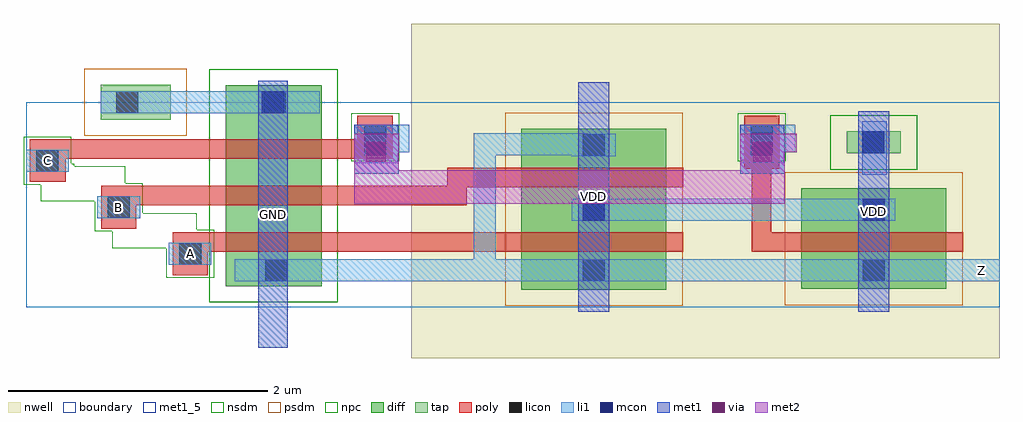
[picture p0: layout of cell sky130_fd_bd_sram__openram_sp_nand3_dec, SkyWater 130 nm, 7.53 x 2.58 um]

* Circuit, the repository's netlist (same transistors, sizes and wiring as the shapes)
* NGSPICE file created from sky130_fd_bd_sram__openram_sp_nand3_dec.ext - technology: sky130A

.subckt sky130_fd_bd_sram__openram_sp_nand3_dec
X0 GND C a_128_208# GND sky130_fd_pr__nfet_01v8 w=0.74 l=0.15
X1 VDD C Z VDD sky130_fd_pr__pfet_01v8 w=1.12 l=0.15
X2 Z B VDD VDD sky130_fd_pr__pfet_01v8 w=1.12 l=0.15
X3 a_128_136# A Z GND sky130_fd_pr__nfet_01v8 w=0.74 l=0.15
X4 VDD A Z VDD sky130_fd_pr__pfet_01v8 w=1.12 l=0.15
X5 a_128_208# B a_128_136# GND sky130_fd_pr__nfet_01v8 w=0.74 l=0.15
.ends

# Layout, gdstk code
import gdstk
lib = gdstk.Library(unit=1e-6, precision=1e-09)
def R(c, l, rs):  # rectangles x0, y0, x1, y1
    for r in rs: c.add(gdstk.rectangle(r[:2], r[2:], *l))
nwell = (64, 20)
diff = (65, 20)
tap = (65, 44)
poly = (66, 20)
licon = (66, 44)
li1 = (67, 20)
mcon = (67, 44)
met1_5 = (68, 5)
met1 = (68, 20)
via = (68, 44)
met2 = (69, 20)
nsdm = (93, 44)
psdm = (94, 20)
npc = (95, 20)
boundary = (235, 4)

sky130_fd_bd_sram__openr = lib.new_cell('sky130_fd_bd_sram__openram_sp_nand3_dec')
R(sky130_fd_bd_sram__openr, nwell, [(2.97,-0.395,7.51,2.185)])
R(sky130_fd_bd_sram__openr, diff, [(3.82,0.135,4.94,1.375), (5.98,0.14,7.1,0.915), (1.54,0.16,2.28,1.71)])
R(sky130_fd_bd_sram__openr, tap, [(6.33,1.185,6.75,1.355), (0.575,1.445,1.115,1.715)])
R(sky130_fd_bd_sram__openr, poly, [(1.13,0.245,1.4,0.425), (1.13,0.425,5.07,0.575), (5.6,0.425,7.23,0.575), (5.6,0.575,5.75,1.065), (0.58,0.605,0.85,0.785), (0.58,0.785,3.4,0.925), (0.58,0.925,5.07,0.935), (3.25,0.935,5.07,1.075), (0.03,0.965,0.305,1.145), (5.54,1.065,5.81,1.475), (0.03,1.145,2.83,1.295), (2.555,1.295,2.83,1.475)])
R(sky130_fd_bd_sram__openr, licon, [(1.845,0.2,2.015,0.37), (4.295,0.2,4.465,0.37), (6.455,0.2,6.625,0.37), (1.18,0.325,1.35,0.495), (4.295,0.665,4.465,0.835), (6.455,0.665,6.625,0.835), (0.63,0.685,0.8,0.855), (0.08,1.045,0.25,1.215), (4.295,1.165,4.465,1.335), (6.45,1.185,6.62,1.355), (2.61,1.225,2.78,1.395), (5.59,1.225,5.76,1.395), (0.695,1.495,0.865,1.665), (1.835,1.495,2.005,1.665)])
R(sky130_fd_bd_sram__openr, li1, [(1.61,0.2,7.51,0.37), (1.1,0.325,1.43,0.495), (3.455,0.37,3.625,1.17), (4.21,0.665,6.705,0.835), (0.55,0.685,0.88,0.855), (6.45,1.02,6.64,1.435), (0,1.045,0.33,1.215), (2.53,1.11,2.87,1.195), (5.51,1.11,5.85,1.195), (4.21,1.165,4.55,1.17), (3.455,1.17,4.55,1.335), (2.53,1.195,2.955,1.405), (5.51,1.195,5.935,1.405), (3.455,1.335,4.335,1.34), (0.575,1.495,2.265,1.665)])
R(sky130_fd_bd_sram__openr, mcon, [(4.295,0.665,4.465,0.835), (6.455,0.665,6.625,0.835), (2.61,1.17,2.78,1.34), (5.59,1.17,5.76,1.34), (6.45,1.185,6.62,1.355), (1.82,1.495,1.99,1.665)])
R(sky130_fd_bd_sram__openr, met1_5, [(1.79,-0.315,2.02,1.745), (4.26,-0.035,4.5,1.735), (6.42,-0.035,6.66,1.51)])
R(sky130_fd_bd_sram__openr, met1, [(1.79,-0.315,2.02,1.745), (4.26,-0.035,4.5,1.735), (6.42,-0.035,6.66,1.51), (2.53,1.03,2.875,1.345), (5.51,1.03,5.855,1.345), (2.53,1.345,2.87,1.405), (5.51,1.345,5.85,1.405)])
R(sky130_fd_bd_sram__openr, via, [(2.625,1.12,2.775,1.27), (5.605,1.12,5.755,1.27)])
R(sky130_fd_bd_sram__openr, met2, [(2.53,0.795,5.855,1.055), (2.53,1.055,2.875,1.335), (5.51,1.055,5.855,1.195), (5.51,1.195,5.945,1.335)])
R(sky130_fd_bd_sram__openr, nsdm, [(1.415,0.035,2.405,1.835), (6.205,1.06,6.875,1.48)])
R(sky130_fd_bd_sram__openr, psdm, [(3.695,0.01,5.065,1.5), (5.855,0.015,7.225,1.04), (0.45,1.32,1.24,1.84)])
R(sky130_fd_bd_sram__openr, npc, [(1.08,0.225,1.45,0.455), (0.665,0.455,1.45,0.585), (0.53,0.585,1.45,0.595), (0.53,0.595,1.315,0.725), (0.53,0.725,0.9,0.815), (0.115,0.815,0.9,0.945), (-0.02,0.945,0.9,0.955), (-0.02,0.955,0.765,1.085), (-0.02,1.085,0.37,1.105), (-0.02,1.105,0.35,1.315), (2.51,1.125,2.88,1.495), (5.49,1.125,5.86,1.495)])
R(sky130_fd_bd_sram__openr, boundary, [(0,0,7.51,1.58)])
sky130_fd_bd_sram__openr.add(gdstk.Label('GND', (1.905,0.715), layer=68, texttype=5))
sky130_fd_bd_sram__openr.add(gdstk.Label('Z', (7.37,0.285), layer=67, texttype=5))
sky130_fd_bd_sram__openr.add(gdstk.Label('gnd', (1.905,0.705), layer=68, texttype=5))
sky130_fd_bd_sram__openr.add(gdstk.Label('VDD', (4.38,0.85), layer=68, texttype=5))
sky130_fd_bd_sram__openr.add(gdstk.Label('VDD', (6.54,0.737), layer=68, texttype=5))
sky130_fd_bd_sram__openr.add(gdstk.Label('vdd', (4.38,0.85), layer=68, texttype=5))
sky130_fd_bd_sram__openr.add(gdstk.Label('vdd', (6.54,0.735), layer=68, texttype=5))
sky130_fd_bd_sram__openr.add(gdstk.Label('gnd', (1.905,0.715), layer=68, texttype=5))
sky130_fd_bd_sram__openr.add(gdstk.Label('A', (1.265,0.41), layer=67, texttype=5))
sky130_fd_bd_sram__openr.add(gdstk.Label('B', (0.715,0.77), layer=67, texttype=5))
sky130_fd_bd_sram__openr.add(gdstk.Label('C', (0.165,1.13), layer=67, texttype=5))

lib.write_gds('sky130_fd_bd_sram__openram_sp_nand3_dec.gds')
